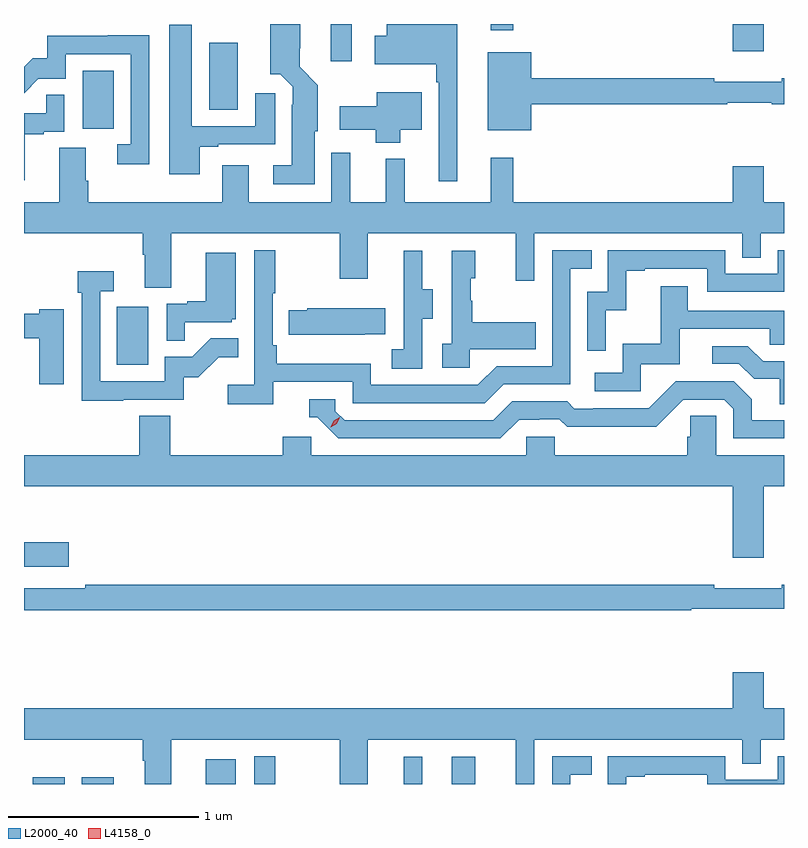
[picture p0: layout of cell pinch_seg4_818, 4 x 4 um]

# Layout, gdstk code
import gdstk
lib = gdstk.Library(unit=1e-6, precision=1e-09)
def R(c, l, rs):  # rectangles x0, y0, x1, y1
    for r in rs: c.add(gdstk.rectangle(r[:2], r[2:], *l))
def P(c, l, *ps):  # polygons
    for p in ps: c.add(gdstk.Polygon(p, *l))
L2000_40 = (2000, 40)
L4158_0 = (4158, 0)

pinch_seg4_818 = lib.new_cell('pinch_seg4_818')
R(pinch_seg4_818, L2000_40, [(820.665,803.246,820.833,803.281), (820.923,803.246,821.092,803.281), (821.576,803.246,821.734,803.377), (821.832,803.246,821.941,803.392), (822.617,803.246,822.715,803.389), (822.87,803.246,822.994,803.389), (820.619,804.389,820.855,804.519), (821.108,805.452,821.272,805.759), (820.928,806.694,821.092,807.001), (821.594,806.794,821.743,807.148), (822.233,807.051,822.343,807.246), (824.348,807.102,824.512,807.246), (823.076,807.213,823.193,807.246)])
P(pinch_seg4_818, L2000_40, [(822.898,807.246),(822.527,807.246),(822.527,807.183),(822.464,807.183),(822.464,807.035),(822.789,807.035),(822.789,806.939),(822.801,806.939),(822.801,806.418),(822.898,806.418)],
  [(822.148,806.682),(822.166,806.682),(822.166,806.923),(822.069,807.02),(822.069,807.118),(822.073,807.118),(822.073,807.246),(821.915,807.246),(821.915,806.982),(821.967,806.982),(822.033,806.916),(822.033,806.822),(822.029,806.822),(822.029,806.503),(821.931,806.503),(821.931,806.402),(822.148,806.402)],
  [(821.545,806.601),(821.641,806.601),(821.641,806.613),(821.941,806.613),(821.941,806.881),(821.837,806.881),(821.837,806.709),(821.503,806.709),(821.503,807.241),(821.384,807.241),(821.384,806.454),(821.545,806.454)],
  [(821.277,807.188),(821.059,807.188),(821.059,807.183),(820.741,807.183),(820.741,807.066),(820.664,807.066),(820.619,807.021),(820.619,806.882),(820.695,806.958),(820.839,806.958),(820.839,807.087),(821.181,807.087),(821.181,806.613),(821.109,806.613),(821.109,806.508),(821.277,806.508)],
  [(823.288,806.824),(824.319,806.824),(824.319,806.832),(824.554,806.832),(824.554,806.824),(824.619,806.824),(824.619,806.96),(824.608,806.96),(824.608,806.941),(824.252,806.941),(824.252,806.96),(823.288,806.96),(823.288,807.097),(823.061,807.097),(823.061,806.687),(823.288,806.687)],
  [(822.598,806.69),(822.712,806.69),(822.712,806.887),(822.476,806.887),(822.476,806.812),(822.282,806.812),(822.282,806.69),(822.469,806.69),(822.469,806.621),(822.598,806.621)],
  [(820.624,806.667),(820.724,806.667),(820.724,806.679),(820.83,806.679),(820.83,806.873),(820.735,806.873),(820.735,806.775),(820.619,806.775),(820.619,806.424),(820.624,806.424)],
  [(821.395,806.144),(822.28,806.144),(822.28,805.905),(822.427,805.905),(822.427,806.144),(823.208,806.144),(823.208,805.896),(823.305,805.896),(823.305,806.144),(824.4,806.144),(824.4,806.017),(824.496,806.017),(824.496,806.144),(824.619,806.144),(824.619,806.308),(824.512,806.308),(824.512,806.497),(824.348,806.497),(824.348,806.308),(823.193,806.308),(823.193,806.542),(823.076,806.542),(823.076,806.308),(822.623,806.308),(822.623,806.536),(822.524,806.536),(822.524,806.308),(822.335,806.308),(822.335,806.569),(822.237,806.569),(822.237,806.308),(821.803,806.308),(821.803,806.503),(821.663,806.503),(821.663,806.308),(820.958,806.308),(820.958,806.42),(820.945,806.42),(820.945,806.594),(820.805,806.594),(820.805,806.308),(820.619,806.308),(820.619,806.144),(821.243,806.144),(821.243,806.032),(821.255,806.032),(821.255,805.858),(821.395,805.858)],
  [(821.93,805.362),(822.348,805.362),(822.348,805.251),(823.045,805.251),(823.144,805.35),(823.494,805.35),(823.494,805.959),(823.607,805.959),(823.607,806.055),(823.398,806.055),(823.398,805.446),(823.107,805.446),(823.008,805.347),(822.444,805.347),(822.444,805.459),(821.948,805.459),(821.948,805.555),(821.928,805.555),(821.928,805.828),(821.941,805.828),(821.941,806.056),(821.832,806.056),(821.832,805.348),(821.691,805.348),(821.691,805.246),(821.93,805.246)],
  [(823.68,805.739),(823.79,805.739),(823.79,805.947),(823.885,805.947),(823.885,805.959),(824.214,805.959),(824.214,805.836),(824.619,805.836),(824.619,806.055),(824.586,806.055),(824.586,805.932),(824.31,805.932),(824.31,806.055),(823.692,806.055),(823.692,805.836),(823.584,805.836),(823.584,805.527),(823.68,805.527)],
  [(822.966,805.535),(823.313,805.535),(823.313,805.675),(822.979,805.675),(822.979,805.79),(822.969,805.79),(822.969,805.908),(822.994,805.908),(822.994,806.053),(822.87,806.053),(822.87,805.562),(822.819,805.562),(822.819,805.437),(822.966,805.437)],
  [(822.714,805.696),(822.769,805.696),(822.769,805.851),(822.715,805.851),(822.715,806.053),(822.617,806.053),(822.617,805.839),(822.618,805.839),(822.618,805.535),(822.555,805.535),(822.555,805.432),(822.714,805.432)],
  [(821.465,805.677),(821.712,805.677),(821.712,805.692),(821.734,805.692),(821.734,806.041),(821.576,806.041),(821.576,805.786),(821.477,805.786),(821.477,805.773),(821.37,805.773),(821.37,805.579),(821.465,805.579)],
  [(821.141,805.269),(821.46,805.269),(821.46,805.386),(821.536,805.386),(821.643,805.493),(821.747,805.493),(821.747,805.592),(821.603,805.592),(821.505,805.494),(821.361,805.494),(821.361,805.365),(821.019,805.365),(821.019,805.839),(821.092,805.839),(821.092,805.945),(820.903,805.945),(820.903,805.832),(820.923,805.832),(820.923,805.264),(821.141,805.264)],
  [(823.866,805.455),(824.071,805.455),(824.071,805.641),(824.545,805.641),(824.545,805.557),(824.619,805.557),(824.619,805.737),(824.113,805.737),(824.113,805.867),(823.969,805.867),(823.969,805.564),(823.77,805.564),(823.77,805.41),(823.623,805.41),(823.623,805.314),(823.866,805.314)],
  [(822.413,805.613),(822.521,805.613),(822.521,805.75),(822.111,805.75),(822.111,805.74),(822.013,805.74),(822.013,805.61),(822.413,805.61)],
  [(820.828,805.746),(820.699,805.746),(820.699,805.72),(820.619,805.72),(820.619,805.591),(820.699,805.591),(820.699,805.35),(820.828,805.35)],
  [(824.619,805.47),(824.509,805.47),(824.428,805.551),(824.241,805.551),(824.241,805.458),(824.382,805.458),(824.462,805.378),(824.597,805.378),(824.597,805.246),(824.619,805.246)],
  [(823.225,805.164),(823.332,805.164),(823.332,805.167),(823.435,805.167),(823.477,805.125),(823.71,805.125),(823.71,805.127),(823.946,805.127),(824.088,805.269),(824.304,805.269),(824.352,805.221),(824.352,805.065),(824.619,805.065),(824.619,805.161),(824.449,805.161),(824.449,805.271),(824.355,805.365),(824.049,805.365),(823.908,805.224),(823.615,805.224),(823.615,805.221),(823.516,805.221),(823.477,805.26),(823.188,805.26),(823.089,805.161),(822.306,805.161),(822.258,805.209),(822.258,805.272),(822.119,805.272),(822.119,805.176),(822.162,805.176),(822.273,805.065),(823.126,805.065)],
  [(824.512,804.812),(824.619,804.812),(824.619,804.976),(824.262,804.976),(824.262,805.184),(824.125,805.184),(824.125,805.074),(824.111,805.074),(824.111,804.976),(823.413,804.976),(823.413,805.074),(823.263,805.074),(823.263,804.976),(822.132,804.976),(822.132,805.074),(821.981,805.074),(821.981,804.976),(821.39,804.976),(821.39,805.184),(821.225,805.184),(821.225,804.976),(820.619,804.976),(820.619,804.812),(824.348,804.812),(824.348,804.438),(824.512,804.438)],
  [(824.132,804.168),(824.619,804.168),(824.619,804.296),(824.608,804.296),(824.608,804.277),(824.252,804.277),(824.252,804.296),(820.942,804.296),(820.942,804.276),(820.619,804.276),(820.619,804.16),(824.132,804.16)],
  [(821.395,803.48),(822.28,803.48),(822.28,803.246),(822.427,803.246),(822.427,803.48),(823.208,803.48),(823.208,803.246),(823.305,803.246),(823.305,803.48),(824.4,803.48),(824.4,803.353),(824.496,803.353),(824.496,803.48),(824.619,803.48),(824.619,803.644),(824.512,803.644),(824.512,803.833),(824.348,803.833),(824.348,803.644),(820.619,803.644),(820.619,803.48),(821.243,803.48),(821.243,803.368),(821.255,803.368),(821.255,803.246),(821.395,803.246)],
  [(823.79,803.283),(823.885,803.283),(823.885,803.295),(824.214,803.295),(824.214,803.246),(824.619,803.246),(824.619,803.391),(824.586,803.391),(824.586,803.268),(824.31,803.268),(824.31,803.391),(823.692,803.391),(823.692,803.246),(823.79,803.246)],
  [(823.494,803.295),(823.607,803.295),(823.607,803.391),(823.398,803.391),(823.398,803.246),(823.494,803.246)])
P(pinch_seg4_818, L4158_0, [(822.233,805.124),(822.233,805.125),(822.25,805.157),(822.281,805.176),(822.281,805.176),(822.281,805.176),(822.264,805.143),(822.234,805.124)])

lib.write_gds('pinch_seg4_818.gds')
